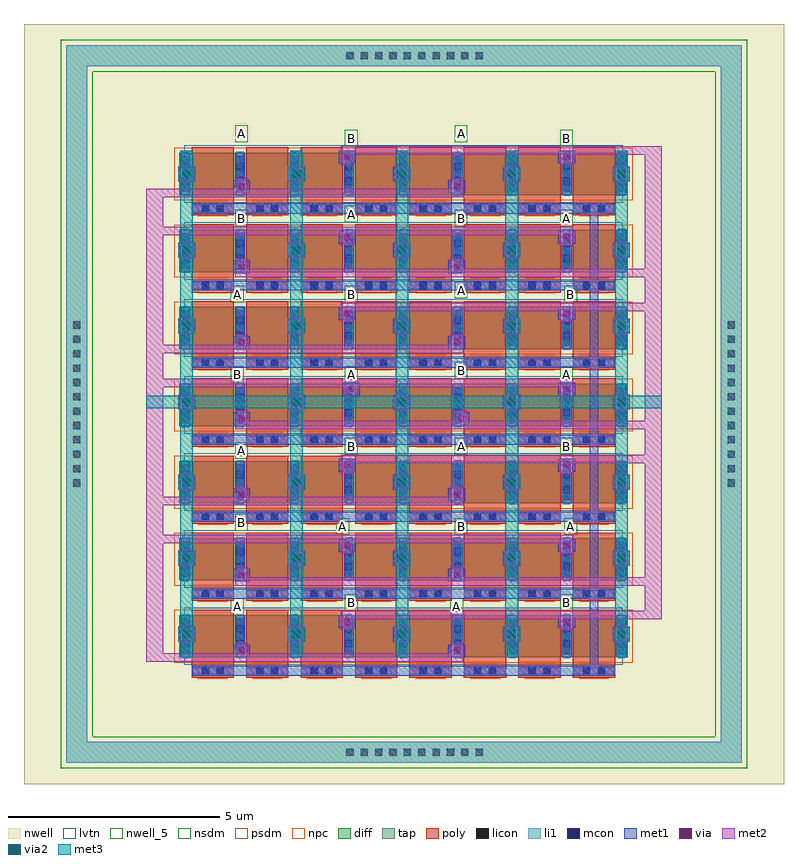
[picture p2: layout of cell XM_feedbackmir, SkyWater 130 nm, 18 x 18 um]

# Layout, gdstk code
import gdstk
lib = gdstk.Library(unit=1e-6, precision=1e-09)
def R(c, l, rs):  # rectangles x0, y0, x1, y1
    for r in rs: c.add(gdstk.rectangle(r[:2], r[2:], *l))
def A(c, l, x, y, w, h, nx, ny, dx, dy):  # array of equal rectangles
    R(c, l, [(x+i*dx, y+j*dy, x+i*dx+w, y+j*dy+h) for i in range(nx) for j in range(ny)])
nwell_5 = (64, 5)
nwell = (64, 20)
diff = (65, 20)
tap = (65, 44)
poly = (66, 20)
licon = (66, 44)
li1 = (67, 20)
mcon = (67, 44)
met1 = (68, 20)
via = (68, 44)
met2 = (69, 20)
via2 = (69, 44)
met3 = (70, 20)
nsdm = (93, 44)
psdm = (94, 20)
npc = (95, 20)
lvtn = (125, 44)

sky130_fd_pr__pfet_01v8_ = lib.new_cell('sky130_fd_pr__pfet_01v8_lvt_8URDWJ')
A(sky130_fd_pr__pfet_01v8_, nwell, -5.485, -6.3, 10.97, 1.81, 1, 7, 0, 1.825)
A(sky130_fd_pr__pfet_01v8_, diff, -5.305, -5.8, 10.61, 1, 1, 7, 0, 1.825)
A(sky130_fd_pr__pfet_01v8_, poly, -5.015, -6.285, 1, 1.615, 8, 7, 1.29, 1.825)
A(sky130_fd_pr__pfet_01v8_, licon, -4.77, -6.205, 0.17, 0.17, 1, 7, 0, 1.825)
A(sky130_fd_pr__pfet_01v8_, licon, -4.43, -6.205, 0.17, 0.17, 1, 7, 0, 1.825)
A(sky130_fd_pr__pfet_01v8_, licon, -3.48, -6.205, 0.17, 0.17, 1, 7, 0, 1.825)
A(sky130_fd_pr__pfet_01v8_, licon, -3.14, -6.205, 0.17, 0.17, 1, 7, 0, 1.825)
A(sky130_fd_pr__pfet_01v8_, licon, -2.19, -6.205, 0.17, 0.17, 1, 7, 0, 1.825)
A(sky130_fd_pr__pfet_01v8_, licon, -1.85, -6.205, 0.17, 0.17, 1, 7, 0, 1.825)
A(sky130_fd_pr__pfet_01v8_, licon, -0.9, -6.205, 0.17, 0.17, 1, 7, 0, 1.825)
A(sky130_fd_pr__pfet_01v8_, licon, -0.56, -6.205, 0.17, 0.17, 1, 7, 0, 1.825)
A(sky130_fd_pr__pfet_01v8_, licon, 0.39, -6.205, 0.17, 0.17, 1, 7, 0, 1.825)
A(sky130_fd_pr__pfet_01v8_, licon, 0.73, -6.205, 0.17, 0.17, 1, 7, 0, 1.825)
A(sky130_fd_pr__pfet_01v8_, licon, 1.68, -6.205, 0.17, 0.17, 1, 7, 0, 1.825)
A(sky130_fd_pr__pfet_01v8_, licon, 2.02, -6.205, 0.17, 0.17, 1, 7, 0, 1.825)
A(sky130_fd_pr__pfet_01v8_, licon, 2.97, -6.205, 0.17, 0.17, 1, 7, 0, 1.825)
A(sky130_fd_pr__pfet_01v8_, licon, 3.31, -6.205, 0.17, 0.17, 1, 7, 0, 1.825)
A(sky130_fd_pr__pfet_01v8_, licon, 4.26, -6.205, 0.17, 0.17, 1, 7, 0, 1.825)
A(sky130_fd_pr__pfet_01v8_, licon, 4.6, -6.205, 0.17, 0.17, 1, 7, 0, 1.825)
A(sky130_fd_pr__pfet_01v8_, licon, -5.245, -5.725, 0.17, 0.17, 9, 3, 1.29, 0.34)
A(sky130_fd_pr__pfet_01v8_, licon, -5.245, -3.9, 0.17, 0.17, 9, 3, 1.29, 0.34)
A(sky130_fd_pr__pfet_01v8_, licon, -5.245, -2.075, 0.17, 0.17, 9, 3, 1.29, 0.34)
A(sky130_fd_pr__pfet_01v8_, licon, -5.245, -0.25, 0.17, 0.17, 9, 3, 1.29, 0.34)
A(sky130_fd_pr__pfet_01v8_, licon, -5.245, 1.575, 0.17, 0.17, 9, 3, 1.29, 0.34)
A(sky130_fd_pr__pfet_01v8_, licon, -5.245, 3.4, 0.17, 0.17, 9, 3, 1.29, 0.34)
A(sky130_fd_pr__pfet_01v8_, licon, -5.245, 5.225, 0.17, 0.17, 9, 3, 1.29, 0.34)
A(sky130_fd_pr__pfet_01v8_, li1, -5.015, -6.205, 1, 0.17, 8, 7, 1.29, 1.825)
A(sky130_fd_pr__pfet_01v8_, li1, -5.245, -5.82, 0.17, 1.04, 9, 7, 1.29, 1.825)
A(sky130_fd_pr__pfet_01v8_, mcon, -4.78, -6.205, 0.17, 0.17, 1, 7, 0, 1.825)
A(sky130_fd_pr__pfet_01v8_, mcon, -4.42, -6.205, 0.17, 0.17, 1, 7, 0, 1.825)
A(sky130_fd_pr__pfet_01v8_, mcon, -3.49, -6.205, 0.17, 0.17, 1, 7, 0, 1.825)
A(sky130_fd_pr__pfet_01v8_, mcon, -3.13, -6.205, 0.17, 0.17, 1, 7, 0, 1.825)
A(sky130_fd_pr__pfet_01v8_, mcon, -2.2, -6.205, 0.17, 0.17, 1, 7, 0, 1.825)
A(sky130_fd_pr__pfet_01v8_, mcon, -1.84, -6.205, 0.17, 0.17, 1, 7, 0, 1.825)
A(sky130_fd_pr__pfet_01v8_, mcon, -0.91, -6.205, 0.17, 0.17, 1, 7, 0, 1.825)
A(sky130_fd_pr__pfet_01v8_, mcon, -0.55, -6.205, 0.17, 0.17, 1, 7, 0, 1.825)
A(sky130_fd_pr__pfet_01v8_, mcon, 0.38, -6.205, 0.17, 0.17, 1, 7, 0, 1.825)
A(sky130_fd_pr__pfet_01v8_, mcon, 0.74, -6.205, 0.17, 0.17, 1, 7, 0, 1.825)
A(sky130_fd_pr__pfet_01v8_, mcon, 1.67, -6.205, 0.17, 0.17, 1, 7, 0, 1.825)
A(sky130_fd_pr__pfet_01v8_, mcon, 2.03, -6.205, 0.17, 0.17, 1, 7, 0, 1.825)
A(sky130_fd_pr__pfet_01v8_, mcon, 2.96, -6.205, 0.17, 0.17, 1, 7, 0, 1.825)
A(sky130_fd_pr__pfet_01v8_, mcon, 3.32, -6.205, 0.17, 0.17, 1, 7, 0, 1.825)
A(sky130_fd_pr__pfet_01v8_, mcon, 4.25, -6.205, 0.17, 0.17, 1, 7, 0, 1.825)
A(sky130_fd_pr__pfet_01v8_, mcon, 4.61, -6.205, 0.17, 0.17, 1, 7, 0, 1.825)
A(sky130_fd_pr__pfet_01v8_, mcon, -5.245, -5.565, 0.17, 0.17, 9, 2, 1.29, 0.36)
A(sky130_fd_pr__pfet_01v8_, mcon, -5.245, -3.74, 0.17, 0.17, 9, 2, 1.29, 0.36)
A(sky130_fd_pr__pfet_01v8_, mcon, -5.245, -1.915, 0.17, 0.17, 9, 2, 1.29, 0.36)
A(sky130_fd_pr__pfet_01v8_, mcon, -5.245, -0.09, 0.17, 0.17, 9, 2, 1.29, 0.36)
A(sky130_fd_pr__pfet_01v8_, mcon, -5.245, 1.735, 0.17, 0.17, 9, 2, 1.29, 0.36)
A(sky130_fd_pr__pfet_01v8_, mcon, -5.245, 3.56, 0.17, 0.17, 9, 2, 1.29, 0.36)
A(sky130_fd_pr__pfet_01v8_, mcon, -5.245, 5.385, 0.17, 0.17, 9, 2, 1.29, 0.36)
A(sky130_fd_pr__pfet_01v8_, met1, -4.995, -6.235, 0.96, 0.23, 8, 7, 1.29, 1.825)
A(sky130_fd_pr__pfet_01v8_, met1, -5.275, -5.8, 0.23, 1, 9, 7, 1.29, 1.825)
A(sky130_fd_pr__pfet_01v8_, psdm, -5.43, -5.925, 10.86, 1.25, 1, 7, 0, 1.825)
A(sky130_fd_pr__pfet_01v8_, npc, -4.87, -6.305, 0.71, 0.37, 8, 7, 1.29, 1.825)
A(sky130_fd_pr__pfet_01v8_, lvtn, -5.195, -5.98, 10.39, 1.36, 1, 7, 0, 1.825)

xm_feedbackmir = lib.new_cell('XM_feedbackmir')
A(xm_feedbackmir, nwell_5, 4.1, 7, 0.3, 0.4, 1, 3, 0, 1.9)
R(xm_feedbackmir, nwell_5, [(1.4,1.5,1.7,1.9), (6.6,1.5,6.9,1.9), (4.1,1.6,4.4,2), (9.2,1.6,9.5,2), (3.9,3.4,4.2,3.8), (6.7,3.4,7,3.8), (9.3,3.4,9.6,3.8), (1.5,3.5,1.8,3.9), (1.5,5.2,1.8,5.6), (4.1,5.3,4.4,5.7), (6.7,5.3,7,5.7), (9.2,5.3,9.5,5.7), (1.4,7,1.7,7.4), (9.2,7,9.5,7.4), (6.7,7.1,7,7.5), (1.4,8.9,1.7,9.3), (9.3,8.9,9.6,9.3), (6.7,9,7,9.4), (1.5,10.7,1.8,11.1), (6.7,10.7,7,11.1), (9.2,10.7,9.5,11.1), (4.1,12.6,4.4,13), (9.2,12.6,9.5,13), (1.5,12.7,1.8,13.1), (6.7,12.7,7,13.1)])
R(xm_feedbackmir, nwell, [(-3.5,-2.5,14.5,15.5)])
R(xm_feedbackmir, tap, [(-2.5,-2,13.5,-1.5), (-2.5,-1.5,-2,14.5), (13,-1.5,13.5,14.5), (-2.5,14.5,13.5,15)])
A(xm_feedbackmir, licon, 4.135, -1.835, 0.17, 0.17, 10, 2, 0.34, 16.5)
A(xm_feedbackmir, licon, -2.335, 4.545, 0.17, 0.17, 1, 12, 0, 0.34)
A(xm_feedbackmir, licon, 13.165, 4.545, 0.17, 0.17, 1, 12, 0, 0.34)
R(xm_feedbackmir, li1, [(-2.5,-2,13.5,-1.5), (-2.5,-1.5,-2,14.5), (13,-1.5,13.5,14.5), (-2.5,14.5,13.5,15)])
A(xm_feedbackmir, met1, 0.49, 0.06, 9.99, 0.24, 1, 4, 0, 3.65)
A(xm_feedbackmir, met1, 0.15, 0.9, 0.4, 0.3, 1, 3, 0, 1.8)
A(xm_feedbackmir, met1, 2.75, 0.9, 0.4, 0.3, 1, 3, 0, 1.8)
A(xm_feedbackmir, met1, 5.25, 0.9, 0.4, 0.3, 3, 3, 2.6, 1.8)
A(xm_feedbackmir, met1, 0.49, 1.89, 9.99, 0.23, 1, 3, 0, 3.65)
A(xm_feedbackmir, met1, 1.45, 4.2, 0.4, 0.3, 1, 4, 0, 1.8)
A(xm_feedbackmir, met1, 9.15, 4.9, 0.4, 0.3, 1, 4, 0, 1.8)
A(xm_feedbackmir, met1, 0.15, 6.4, 0.4, 0.3, 1, 4, 0, 1.8)
A(xm_feedbackmir, met1, 2.75, 6.4, 0.4, 0.3, 1, 4, 0, 1.8)
A(xm_feedbackmir, met1, 5.25, 6.4, 0.4, 0.3, 3, 4, 2.6, 1.8)
R(xm_feedbackmir, met1, [(9.9,0.3,10.1,1.89), (1.45,0.5,1.85,0.8), (6.55,0.5,6.95,0.8), (3.95,1.2,4.35,1.5), (9.15,1.2,9.55,1.5), (9.9,2.12,10.1,3.71), (1.45,2.3,1.85,2.6), (6.55,2.3,6.95,2.6), (3.95,3,4.35,3.3), (9.15,3,9.55,3.3), (9.9,3.95,10.1,5.54), (6.55,4.2,6.95,4.5), (3.95,4.9,4.35,5.2), (9.9,5.77,10.1,7.36), (6.65,6,7.05,6.3), (4.05,6.7,4.45,7), (9.9,7.6,10.1,9.19), (6.55,7.8,6.95,8.1), (3.95,8.5,4.35,8.8), (9.9,9.42,10.1,11.01), (6.55,9.6,6.95,9.9), (3.95,10.3,4.35,10.6), (1.45,11.5,1.85,11.8), (6.55,11.5,6.95,11.8), (3.95,12.2,4.35,12.5), (9.15,12.2,9.55,12.5)])
A(xm_feedbackmir, via, 0.275, 0.975, 0.15, 0.15, 1, 3, 0, 1.8)
A(xm_feedbackmir, via, 2.875, 0.975, 0.15, 0.15, 1, 3, 0, 1.8)
A(xm_feedbackmir, via, 5.375, 0.975, 0.15, 0.15, 3, 3, 2.6, 1.8)
A(xm_feedbackmir, via, 1.575, 4.275, 0.15, 0.15, 1, 4, 0, 1.8)
A(xm_feedbackmir, via, 9.275, 4.975, 0.15, 0.15, 1, 4, 0, 1.8)
A(xm_feedbackmir, via, 0.275, 6.475, 0.15, 0.15, 1, 4, 0, 1.8)
A(xm_feedbackmir, via, 2.875, 6.475, 0.15, 0.15, 1, 4, 0, 1.8)
A(xm_feedbackmir, via, 5.375, 6.475, 0.15, 0.15, 3, 4, 2.6, 1.8)
R(xm_feedbackmir, via, [(1.575,0.575,1.725,0.725), (6.675,0.575,6.825,0.725), (4.075,1.275,4.225,1.425), (9.275,1.275,9.425,1.425), (1.575,2.375,1.725,2.525), (6.675,2.375,6.825,2.525), (4.075,3.075,4.225,3.225), (9.275,3.075,9.425,3.225), (6.675,4.275,6.825,4.425), (4.075,4.975,4.225,5.125), (6.775,6.075,6.925,6.225), (4.175,6.775,4.325,6.925), (6.675,7.875,6.825,8.025), (4.075,8.575,4.225,8.725), (6.675,9.675,6.825,9.825), (4.075,10.375,4.225,10.525), (1.575,11.575,1.725,11.725), (6.675,11.575,6.825,11.725), (4.075,12.275,4.225,12.425), (9.275,12.275,9.425,12.425)])
A(xm_feedbackmir, met2, 0.2, 0.85, 0.3, 0.4, 1, 3, 0, 1.8)
A(xm_feedbackmir, met2, 2.8, 0.85, 0.3, 0.4, 1, 3, 0, 1.8)
A(xm_feedbackmir, met2, 5.3, 0.85, 0.3, 0.4, 3, 3, 2.6, 1.8)
A(xm_feedbackmir, met2, 1.5, 4.3, 0.3, 0.25, 1, 4, 0, 1.8)
A(xm_feedbackmir, met2, 9.2, 4.85, 0.3, 0.25, 1, 4, 0, 1.8)
A(xm_feedbackmir, met2, 0.2, 6.35, 0.3, 0.4, 1, 4, 0, 1.8)
A(xm_feedbackmir, met2, 2.8, 6.35, 0.3, 0.4, 1, 4, 0, 1.8)
A(xm_feedbackmir, met2, 5.3, 6.35, 0.3, 0.4, 3, 4, 2.6, 1.8)
R(xm_feedbackmir, met2, [(-0.6,0.4,6.9,0.6), (-0.6,0.6,-0.2,3.2), (1.5,0.6,1.8,0.85), (6.6,0.6,6.9,0.85), (4,1.15,4.3,1.4), (9.2,1.15,9.5,1.4), (4,1.4,11.6,1.6), (11.2,1.6,11.6,2.2), (1.5,2.2,11.6,2.4), (1.5,2.4,1.8,2.65), (6.6,2.4,6.9,2.65), (11.2,2.4,11.6,5.1), (4,2.95,4.3,3.2), (9.2,2.95,9.5,3.2), (-0.6,3.2,9.5,3.4), (-0.6,3.4,-0.2,4.1), (-0.6,4.1,6.9,4.3), (-0.6,4.3,-0.2,6.9), (6.6,4.3,6.9,4.55), (4,4.85,4.3,5.1), (4,5.1,11.6,5.3), (11.2,5.3,11.6,5.9), (1.5,5.9,11.6,6.1), (6.7,6.1,7,6.35), (11.2,6.1,11.6,8.7), (4.1,6.65,4.4,6.9), (-0.6,6.9,9.5,7.1), (-0.6,7.1,-0.2,7.7), (-0.6,7.7,6.9,7.9), (-0.6,7.9,-0.2,10.5), (6.6,7.9,6.9,8.15), (4,8.45,4.3,8.7), (4,8.7,11.6,8.9), (11.2,8.9,11.6,9.5), (1.5,9.5,11.6,9.7), (6.6,9.7,6.9,9.95), (11.2,9.7,11.6,12.4), (4,10.25,4.3,10.5), (-0.6,10.5,9.5,10.7), (-0.6,10.7,-0.2,11.4), (-0.6,11.4,6.9,11.6), (1.5,11.6,1.8,11.85), (6.6,11.6,6.9,11.85), (4,12.15,4.3,12.4), (9.2,12.15,9.5,12.4), (4,12.4,11.6,12.6)])
A(xm_feedbackmir, via2, 0.25, 0.95, 0.2, 0.2, 1, 3, 0, 1.8)
A(xm_feedbackmir, via2, 2.85, 0.95, 0.2, 0.2, 1, 3, 0, 1.8)
A(xm_feedbackmir, via2, 5.35, 0.95, 0.2, 0.2, 3, 3, 2.6, 1.8)
A(xm_feedbackmir, via2, 0.25, 6.45, 0.2, 0.2, 1, 4, 0, 1.8)
A(xm_feedbackmir, via2, 2.85, 6.45, 0.2, 0.2, 1, 4, 0, 1.8)
A(xm_feedbackmir, via2, 5.35, 6.45, 0.2, 0.2, 3, 4, 2.6, 1.8)
A(xm_feedbackmir, met3, 5.3, 0.5, 0.3, 0.375, 3, 2, 2.6, 11.625)
A(xm_feedbackmir, met3, 0.15, 0.875, 0.4, 0.35, 1, 3, 0, 1.8)
A(xm_feedbackmir, met3, 2.75, 0.875, 0.4, 0.35, 1, 3, 0, 1.8)
A(xm_feedbackmir, met3, 5.25, 0.875, 0.4, 0.35, 3, 3, 2.6, 1.8)
A(xm_feedbackmir, met3, 5.3, 1.225, 0.3, 1.45, 3, 2, 2.6, 1.8)
A(xm_feedbackmir, met3, 5.3, 4.825, 0.3, 1.55, 3, 1, 2.6, 0)
A(xm_feedbackmir, met3, 5.25, 6.375, 0.4, 0.025, 3, 2, 2.6, 0.325)
A(xm_feedbackmir, met3, 0.2, 6.725, 0.3, 1.45, 1, 3, 0, 1.8)
A(xm_feedbackmir, met3, 2.8, 6.725, 0.3, 1.45, 1, 3, 0, 1.8)
A(xm_feedbackmir, met3, 5.3, 6.725, 0.3, 1.45, 3, 3, 2.6, 1.8)
A(xm_feedbackmir, met3, 0.15, 8.175, 0.4, 0.35, 1, 3, 0, 1.8)
A(xm_feedbackmir, met3, 2.75, 8.175, 0.4, 0.35, 1, 3, 0, 1.8)
A(xm_feedbackmir, met3, 5.25, 8.175, 0.4, 0.35, 3, 3, 2.6, 1.8)
R(xm_feedbackmir, met3, [(0.2,0.5,0.5,0.875), (2.8,0.5,3.1,0.875), (0.2,1.225,0.5,2.675), (2.8,1.225,3.1,2.675), (0.2,3.025,0.5,4.475), (2.8,3.025,3.1,4.475), (0.2,4.825,0.5,6.375), (2.8,4.825,3.1,6.375), (0.15,6.375,0.55,6.4), (2.75,6.375,3.15,6.4), (-0.6,6.4,11.6,6.7), (0.15,6.7,0.55,6.725), (2.75,6.7,3.15,6.725), (0.2,12.125,0.5,12.5), (2.8,12.125,3.1,12.5)])
R(xm_feedbackmir, nsdm, [(-2.625,-2.125,13.625,-1.375), (-2.625,-1.375,-1.875,14.375), (12.875,-1.375,13.625,14.375), (-2.625,14.375,13.625,15.125)])
xm_feedbackmir.add(gdstk.Reference(sky130_fd_pr__pfet_01v8_, (5.485,6.3)))
xm_feedbackmir.add(gdstk.Label('A', (1.65,12.9), layer=64, texttype=5))
xm_feedbackmir.add(gdstk.Label('A', (6.85,12.9), layer=64, texttype=5))
xm_feedbackmir.add(gdstk.Label('A', (4.25,11), layer=64, texttype=5))
xm_feedbackmir.add(gdstk.Label('A', (9.35,10.9), layer=64, texttype=5))
xm_feedbackmir.add(gdstk.Label('A', (1.55,9.1), layer=64, texttype=5))
xm_feedbackmir.add(gdstk.Label('A', (6.85,9.2), layer=64, texttype=5))
xm_feedbackmir.add(gdstk.Label('A', (4.25,7.2), layer=64, texttype=5))
xm_feedbackmir.add(gdstk.Label('A', (9.35,7.2), layer=64, texttype=5))
xm_feedbackmir.add(gdstk.Label('A', (1.65,5.4), layer=64, texttype=5))
xm_feedbackmir.add(gdstk.Label('A', (6.85,5.5), layer=64, texttype=5))
xm_feedbackmir.add(gdstk.Label('A', (4.05,3.6), layer=64, texttype=5))
xm_feedbackmir.add(gdstk.Label('A', (9.45,3.6), layer=64, texttype=5))
xm_feedbackmir.add(gdstk.Label('A', (1.55,1.7), layer=64, texttype=5))
xm_feedbackmir.add(gdstk.Label('A', (6.75,1.7), layer=64, texttype=5))
xm_feedbackmir.add(gdstk.Label('B', (4.25,12.8), layer=64, texttype=5))
xm_feedbackmir.add(gdstk.Label('B', (9.35,12.8), layer=64, texttype=5))
xm_feedbackmir.add(gdstk.Label('B', (1.65,10.9), layer=64, texttype=5))
xm_feedbackmir.add(gdstk.Label('B', (6.85,10.9), layer=64, texttype=5))
xm_feedbackmir.add(gdstk.Label('B', (4.25,9.1), layer=64, texttype=5))
xm_feedbackmir.add(gdstk.Label('B', (9.45,9.1), layer=64, texttype=5))
xm_feedbackmir.add(gdstk.Label('B', (1.55,7.2), layer=64, texttype=5))
xm_feedbackmir.add(gdstk.Label('B', (6.85,7.3), layer=64, texttype=5))
xm_feedbackmir.add(gdstk.Label('B', (4.25,5.5), layer=64, texttype=5))
xm_feedbackmir.add(gdstk.Label('B', (9.35,5.5), layer=64, texttype=5))
xm_feedbackmir.add(gdstk.Label('B', (1.65,3.7), layer=64, texttype=5))
xm_feedbackmir.add(gdstk.Label('B', (6.85,3.6), layer=64, texttype=5))
xm_feedbackmir.add(gdstk.Label('B', (4.25,1.8), layer=64, texttype=5))
xm_feedbackmir.add(gdstk.Label('B', (9.35,1.8), layer=64, texttype=5))

lib.write_gds('XM_feedbackmir.gds')
